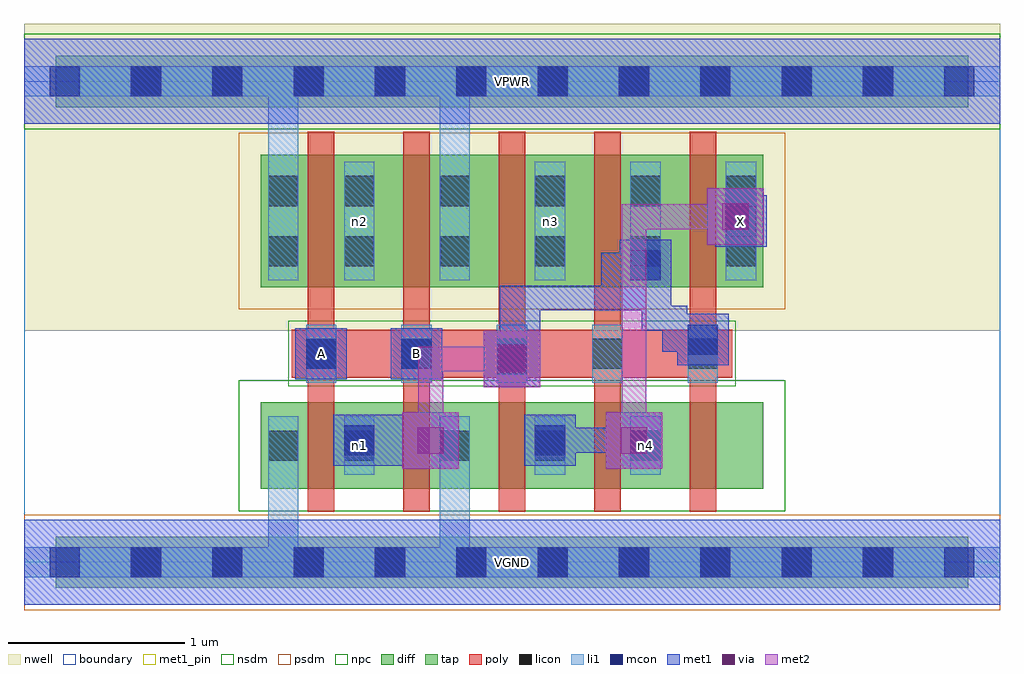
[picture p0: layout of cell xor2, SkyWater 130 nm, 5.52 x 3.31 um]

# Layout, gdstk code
import gdstk
lib = gdstk.Library(unit=1e-6, precision=1e-09)
def R(c, l, rs):  # rectangles x0, y0, x1, y1
    for r in rs: c.add(gdstk.rectangle(r[:2], r[2:], *l))
def A(c, l, x, y, w, h, nx, ny, dx, dy):  # array of equal rectangles
    R(c, l, [(x+i*dx, y+j*dy, x+i*dx+w, y+j*dy+h) for i in range(nx) for j in range(ny)])
nwell = (64, 20)
diff = (65, 20)
tap = (65, 44)
poly = (66, 20)
licon = (66, 44)
li1 = (67, 20)
mcon = (67, 44)
met1_pin = (68, 16)
met1 = (68, 20)
via = (68, 44)
met2 = (69, 20)
nsdm = (93, 44)
psdm = (94, 20)
npc = (95, 20)
boundary = (235, 4)

xor2 = lib.new_cell('xor2')
R(xor2, nwell, [(0,1.31,5.52,3.045)])
R(xor2, diff, [(1.34,0.415,4.18,0.905), (1.34,1.555,4.18,2.305)])
R(xor2, tap, [(0.18,-0.145,5.34,0.145), (0.18,2.575,5.34,2.865)])
R(xor2, poly, [(1.605,0.285,1.755,2.435), (1.605,0.285,1.755,2.435), (2.145,0.285,2.295,2.435), (2.145,0.285,2.295,2.435), (2.685,0.285,2.835,2.435), (2.685,0.285,2.835,2.435), (3.225,0.285,3.375,2.435), (3.225,0.285,3.375,2.435), (3.765,0.285,3.915,2.435), (3.765,0.285,3.915,2.435), (1.515,1.045,4.005,1.315)])
A(xor2, licon, 0.605, -0.085, 0.17, 0.17, 10, 2, 0.46, 2.72)
A(xor2, licon, 1.81, 0.575, 0.17, 0.17, 4, 1, 0.54, 0)
A(xor2, licon, 1.81, 1.675, 0.17, 0.17, 5, 2, 0.54, 0.34)
R(xor2, licon, [(1.38,0.575,1.55,0.745), (1.595,1.095,1.765,1.265), (1.595,1.095,1.765,1.265), (2.135,1.095,2.305,1.265), (2.135,1.095,2.305,1.265), (2.675,1.095,2.845,1.265), (2.675,1.095,2.845,1.265), (3.215,1.095,3.385,1.265), (3.215,1.095,3.385,1.265), (3.755,1.095,3.925,1.265), (3.755,1.095,3.925,1.265), (1.38,1.675,1.55,1.845), (1.38,2.015,1.55,2.185)])
A(xor2, li1, 1.81, 0.495, 0.17, 0.33, 4, 1, 0.54, 0)
A(xor2, li1, 2.135, 1.015, 0.17, 0.33, 3, 1, 0.54, 0)
A(xor2, li1, 1.81, 1.595, 0.17, 0.67, 5, 1, 0.54, 0)
R(xor2, li1, [(0,-0.085,5.52,0.085), (1.38,-0.085,1.55,0.825), (2.35,-0.085,2.52,0.825), (1.38,0.495,1.55,0.825), (1.595,1.015,1.765,1.345), (1.595,1.015,1.765,1.345), (2.135,1.015,2.305,1.345), (3.215,1.015,3.385,1.345), (3.755,1.015,3.925,1.345), (3.755,1.015,3.925,1.345), (1.38,1.595,1.55,2.265), (1.38,1.595,1.55,2.805), (2.35,1.595,2.52,2.805), (0,2.635,5.52,2.805)])
A(xor2, mcon, 0.145, -0.085, 0.17, 0.17, 12, 2, 0.46, 2.72)
R(xor2, mcon, [(1.81,0.605,1.98,0.775), (2.89,0.605,3.06,0.775), (2.675,1.065,2.845,1.235), (1.595,1.095,1.765,1.265), (2.135,1.095,2.305,1.265), (3.755,1.175,3.925,1.345), (3.43,1.595,3.6,1.765), (3.97,1.845,4.14,2.015)])
R(xor2, met1_pin, [(0,-0.24,5.52,0.24), (1.535,1.035,1.825,1.325), (2.075,1.035,2.365,1.325), (3.91,1.785,4.2,2.075), (0,2.48,5.52,2.96)])
R(xor2, met1, [(0,-0.24,5.52,0.24), (2.14,0.53,2.46,0.85), (3.29,0.53,3.61,0.85), (1.75,0.545,2.04,0.835), (2.04,0.545,2.14,0.835), (2.83,0.545,3.12,0.835), (1.825,0.62,2.14,0.76), (2,0.62,2.37,0.76), (2.905,0.62,3.175,0.76), (3.035,0.62,3.52,0.76), (2.6,0.99,2.92,1.31), (2.615,1.005,2.905,1.295), (1.535,1.035,1.825,1.325), (2.075,1.035,2.365,1.325), (2.69,1.08,2.83,1.565), (3.695,1.115,3.985,1.405), (3.61,1.19,3.91,1.33), (3.61,1.19,3.75,1.45), (2.69,1.295,2.905,1.425), (2.69,1.31,2.92,1.425), (3.495,1.31,3.635,1.565), (3.495,1.31,3.75,1.45), (2.69,1.425,3.405,1.565), (3.265,1.425,3.405,1.75), (3.265,1.425,3.635,1.565), (3.495,1.45,3.66,1.535), (3.61,1.45,3.66,1.535), (3.37,1.535,3.66,1.825), (3.265,1.565,3.585,1.61), (3.265,1.61,3.585,1.75), (3.91,1.785,4.2,2.075), (3.865,1.795,4.185,2.115), (3.955,1.885,4.095,2.025), (0,2.48,5.52,2.96)])
R(xor2, via, [(2.225,0.615,2.375,0.765), (3.375,0.615,3.525,0.765), (2.685,1.075,2.835,1.225), (3.95,1.88,4.1,2.03)])
R(xor2, met2, [(2.14,0.53,2.46,0.85), (3.29,0.53,3.61,0.85), (2.23,0.62,2.37,1.22), (3.38,0.62,3.52,2.025), (2.6,0.99,2.92,1.31), (2.23,1.08,2.83,1.22), (3.865,1.795,4.185,2.115), (3.38,1.885,4.095,2.025)])
R(xor2, nsdm, [(1.215,0.29,4.305,1.03), (0,2.45,5.52,2.99)])
R(xor2, psdm, [(0,-0.27,5.52,0.27), (1.215,1.43,4.305,2.43)])
R(xor2, npc, [(1.495,0.995,4.025,1.365)])
R(xor2, boundary, [(0,0,5.52,2.72)])
xor2.add(gdstk.Label('n1', (1.895,0.66), layer=67, texttype=5))
xor2.add(gdstk.Label('n4', (3.515,0.66), layer=67, texttype=5))
xor2.add(gdstk.Label('n2', (1.895,1.93), layer=67, texttype=5))
xor2.add(gdstk.Label('n3', (2.975,1.93), layer=67, texttype=5))
xor2.add(gdstk.Label('A', (1.68,1.18), layer=68, texttype=5))
xor2.add(gdstk.Label('B', (2.22,1.18), layer=68, texttype=5))
xor2.add(gdstk.Label('X', (4.055,1.93), layer=68, texttype=5))
xor2.add(gdstk.Label('VPWR', (2.76,2.72), layer=68, texttype=5))
xor2.add(gdstk.Label('VGND', (2.76,0), layer=68, texttype=5))
xor2.add(gdstk.Label('A', (1.68,1.18), layer=68, texttype=16))
xor2.add(gdstk.Label('B', (2.22,1.18), layer=68, texttype=16))
xor2.add(gdstk.Label('X', (4.055,1.93), layer=68, texttype=16))
xor2.add(gdstk.Label('VPWR', (2.76,2.72), layer=68, texttype=16))
xor2.add(gdstk.Label('VGND', (2.76,0), layer=68, texttype=16))

lib.write_gds('xor2.gds')
